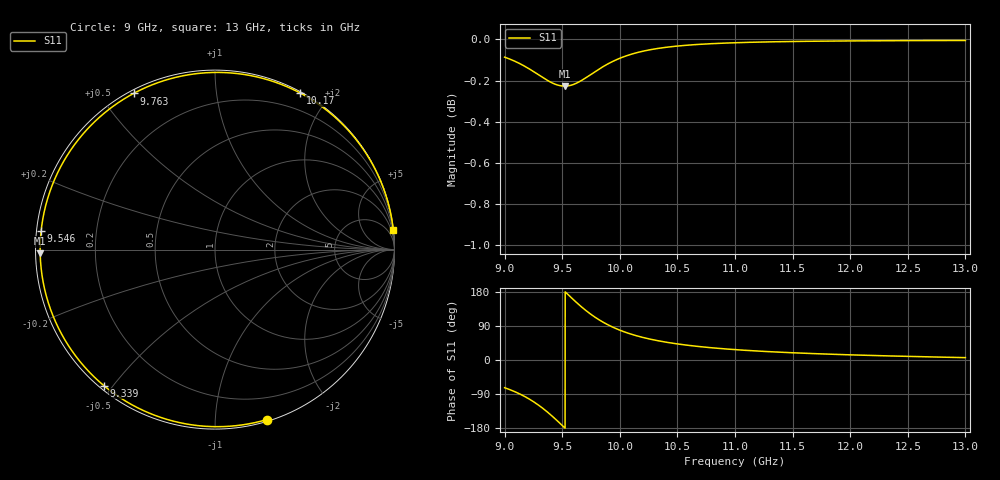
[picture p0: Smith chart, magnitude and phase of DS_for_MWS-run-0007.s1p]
! TOUCHSTONE file generated by CST DESIGN STUDIO
! Date and time: Wed Feb  5 13:29:00 2025
! Project name: C:\Work\MatlabApps\UnitCellOptimizationMatlab\CST\unitcell.cst
! Tree item: Tasks\Sweep1\SPara1\S-Parameters
! Header version: 2024
! Port assignment regex: !\s*Touchstone port\s*([0-9]+)\s*=\s*(CST MWS port|CST DES external port|CST DES block port)\s*(.+)\s* \(\"(.*)\"\)(\s*mode\s*([0-9]+))?.*
! Touchstone port assignment:
! Touchstone port 1 = CST DES external port 1 ("")
# GHz S MA R 50
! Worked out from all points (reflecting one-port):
!   4001 points, 9 GHz to 13 GHz, reference 50 ohm
!   lowest |S11| = -0.2 dB at 9.521 GHz (marker M1), VSWR 76.61, Z = 0.653 - j0.528 ohm
!   phase of S11 starts at -73 deg and turns -281 deg over the sweep
!   S11 on the Smith chart (normalised r, x): 9 GHz: 0.01, -1.35; 9.339 GHz: 0.01, -0.47; 9.546 GHz: 0.01, +0.05; 9.763 GHz: 0.01, +0.61; 10.17 GHz: 0.01, +1.68; 13 GHz: 0, +18
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9  0.9902 -73.1
9.093  0.9878 -84.2
9.198  0.9843 -100.3
9.272  0.9814 -114.3
9.339  0.9786 -129.3
9.383  0.977 -140.2
9.428  0.9755 -152.2
9.465  0.9747 -162.6
9.5  0.9743 -172.7
9.521  0.9742 -178.8
9.546  0.9743 173.9
9.6  0.9752 158.4
9.66  0.977 142.1
9.711  0.979 129.3
9.763  0.9812 117.5
9.813  0.9833 107.4
9.867  0.9854 97.7
10  0.9895 78.7
10.084  0.9915 69.6
10.174  0.9931 61.6
10.323  0.9949 51.3
10.5  0.9963 42.4
10.722  0.9974 34.4
11  0.9982 27.4
11.5  0.9989 19.1
12  0.9992 13.6
12.5  0.9994 9.5
13  0.9995 6.2
